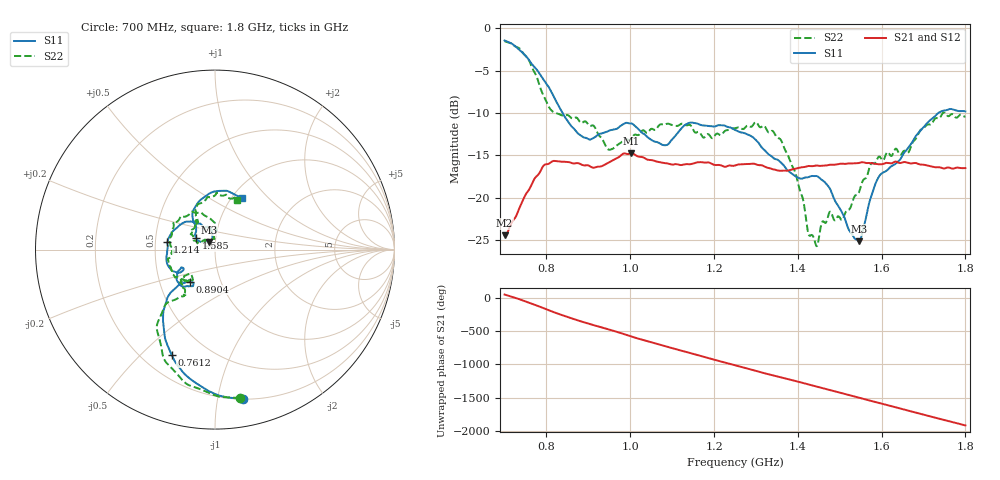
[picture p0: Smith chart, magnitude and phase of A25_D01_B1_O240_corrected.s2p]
! Created with skrf 1.9.0 (http://scikit-rf.org).
# Hz S RI R 50.0
!freq ReS11 ImS11 ReS21 ImS21 ReS12 ImS12 ReS22 ImS22
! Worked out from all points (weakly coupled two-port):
!   1601 points, 700 MHz to 1.8 GHz, reference 50 ohm
!   highest |S21| = -14.74 dB at 1.002 GHz (marker M1); lowest = -24.4 dB at 700 MHz (marker M2)
!   lowest |S11| = -25.1 dB at 1.547 GHz (marker M3), VSWR 1.12, Z = 46.4 + j3.98 ohm
!   |S11| at or under -10 dB: 838.4 MHz to 1.735 GHz (896.9 MHz wide, 69.7 % of centre)
!   |S22| runs from -25.7 to -1.5 dB; largest |S21 - S12| = 0.0036
!   S11 on the Smith chart (normalised r, x): 700 MHz: 0.20, -1.19; 761.2 MHz: 0.32, -0.62; 890.4 MHz: 0.71, -0.27; 1.214 GHz: 0.58, +0.05; 1.585 GHz: 0.81, +0.10; 1.8 GHz: 1.12, +0.71
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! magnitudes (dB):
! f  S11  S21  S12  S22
! 700 MHz  -1.4  -24.4  -24.2  -1.5
! 761.2 MHz  -4.0  -18.8  -18.7  -4.1
! 810.7 MHz  -7.4  -15.8  -15.7  -9.6
! 883.6 MHz  -12.7  -16.1  -16.0  -11.2
! 890.4 MHz  -12.9  -16.2  -16.2  -11.0
! 948.9 MHz  -12.1  -15.8  -15.8  -14.3
! 1.002 GHz  -11.2  -14.7  -14.9  -13.0
! 1.067 GHz  -13.5  -15.8  -15.7  -11.5
! 1.214 GHz  -11.4  -16.1  -16.1  -12.6
! 1.25 GHz  -12.0  -16.2  -16.1  -11.8
! 1.359 GHz  -15.8  -16.8  -16.8  -13.1
! 1.394 GHz  -17.5  -16.6  -16.6  -17.1
! 1.434 GHz  -17.4  -16.3  -16.2  -24.4
! 1.445 GHz  -17.4  -16.2  -16.2  -25.7
! 1.476 GHz  -18.8  -16.1  -16.1  -21.7
! 1.506 GHz  -21.8  -16.0  -16.0  -22.6
! 1.547 GHz  -25.1  -15.9  -15.9  -19.2
! 1.585 GHz  -18.3  -16.0  -16.0  -15.8
! 1.617 GHz  -16.6  -15.9  -15.9  -14.7
! 1.663 GHz  -14.1  -15.9  -15.9  -14.7
! 1.735 GHz  -10.0  -16.4  -16.5  -10.6
! 1.8 GHz  -9.8  -16.5  -16.5  -10.4
